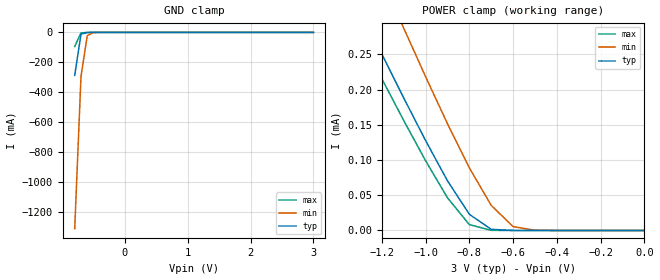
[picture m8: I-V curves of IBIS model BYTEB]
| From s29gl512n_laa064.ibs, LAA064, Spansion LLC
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[Model]   BYTEB
Model_type Input
Vinh=2.1
Vinl=0.9
C_comp   8.0pF   8.0pF   8.0pF
[Temperature Range] 27   100   0
[Voltage Range]   3.0   2.7   3.6
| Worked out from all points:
|   GND clamp passes 1 mA (typ) near -0.60 V on its own axis
|   POWER clamp passes 1 mA (typ) near -2.35 V on its own axis
[GND Clamp]
-800mV    -287.8mA   -1.313A    -94.42mA
-700mV    -11.26mA   -295.1mA   -2.968mA
-600mV    -563.6uA   -20.67mA   -520.2uA
-500mV    -101.7uA   -1.068mA   -134.3uA
-400mV    -23.15uA   -80.17uA   -30.22uA
3V        2.425nA    18.8nA     2.147nA
[POWER Clamp]
-3V       1.432mA    1.681mA    1.341mA
-1.4V     378uA      500.8uA    336.8uA
-1.3V     314uA      428.9uA    275.8uA
-1.2V     250.6uA    357.7uA    215.4uA
-1.1V     188.3uA    287.4uA    156.2uA
-1V       127.7uA    218.4uA    99.03uA
-900mV    70.61uA    151.6uA    46.45uA
-800mV    22.98uA    88.9uA     8.301uA
-700mV    1.639uA    35.63uA    206.4nA
-600mV    40.28nA    5.498uA    5.512nA
-500mV    3.393nA    321.3nA    2.572nA
0V        2.425nA    17.57nA    2.356nA
